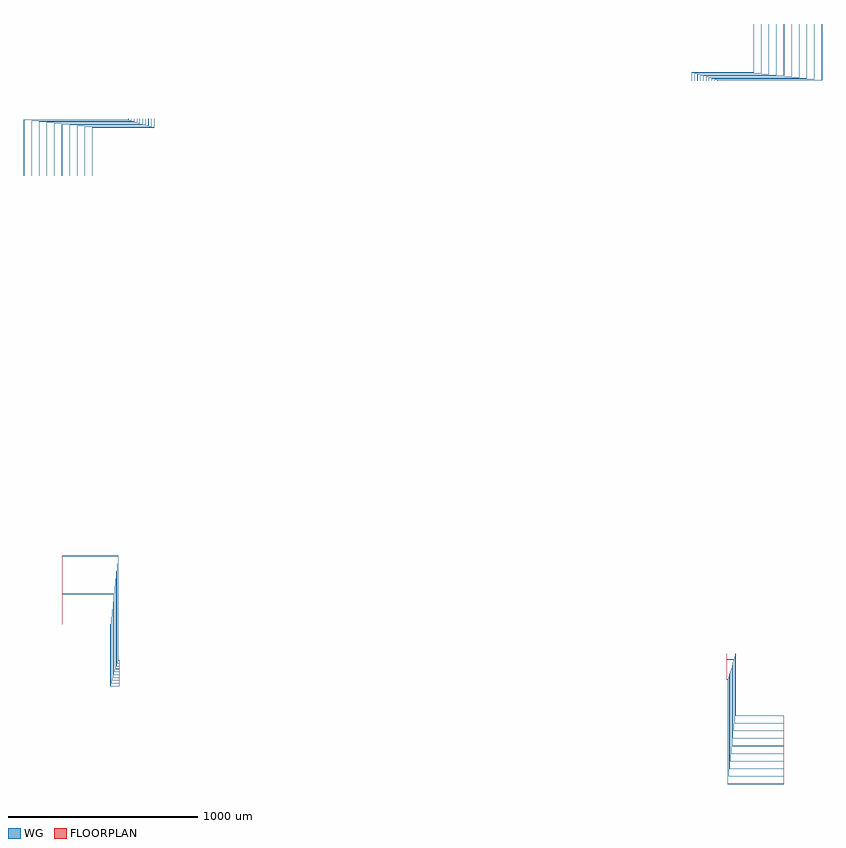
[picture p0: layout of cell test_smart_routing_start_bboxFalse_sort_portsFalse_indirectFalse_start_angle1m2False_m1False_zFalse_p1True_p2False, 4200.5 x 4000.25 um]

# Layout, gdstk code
import gdstk
lib = gdstk.Library(unit=1e-6, precision=1e-09)
def P(c, l, *ps):  # polygons
    for p in ps: c.add(gdstk.Polygon(p, *l))
WG = (1, 0)
FLOORPLAN = (10, 0)

test_smart_routing_start = lib.new_cell('test_smart_routing_start_bboxFalse_sort_portsFalse_indirectFalse_start_angle1m2False_m1False_zFalse_p1True_p2False')
P(test_smart_routing_start, WG, [(-104.5,49.75),(-104.5,599.75),(-400,599.75),(-400,599.95),(-104.3,599.95),(-104.3,49.95),(-100,49.95),(-100,49.75)],
  [(-104.2,50.05),(-104.2,600.05),(-400,600.05),(-400,600.25),(-104,600.25),(-104,50.25),(-100,50.25),(-100,50.05)],
  [(-109,34.75),(-109,559.75),(-400,559.75),(-400,559.95),(-108.8,559.95),(-108.8,34.95),(-100,34.95),(-100,34.75)],
  [(-108.7,35.05),(-108.7,560.05),(-400,560.05),(-400,560.25),(-108.5,560.25),(-108.5,35.25),(-100,35.25),(-100,35.05)],
  [(-113.5,19.75),(-113.5,519.75),(-400,519.75),(-400,519.95),(-113.3,519.95),(-113.3,19.95),(-100,19.95),(-100,19.75)],
  [(-113.2,20.05),(-113.2,520.05),(-400,520.05),(-400,520.25),(-113,520.25),(-113,20.25),(-100,20.25),(-100,20.05)],
  [(-118,4.75),(-118,479.75),(-400,479.75),(-400,479.95),(-117.8,479.95),(-117.8,4.95),(-100,4.95),(-100,4.75)],
  [(-117.7,5.05),(-117.7,480.05),(-400,480.05),(-400,480.25),(-117.5,480.25),(-117.5,5.25),(-100,5.25),(-100,5.05)],
  [(-122.5,-10.25),(-122.5,439.75),(-400,439.75),(-400,439.95),(-122.3,439.95),(-122.3,-10.05),(-100,-10.05),(-100,-10.25)],
  [(-122.2,-9.95),(-122.2,440.05),(-400,440.05),(-400,440.25),(-122,440.25),(-122,-9.75),(-100,-9.75),(-100,-9.95)],
  [(-127,-25.25),(-127,399.75),(-400,399.75),(-400,399.95),(-126.8,399.95),(-126.8,-25.05),(-100,-25.05),(-100,-25.25)],
  [(-126.7,-24.95),(-126.7,400.05),(-400,400.05),(-400,400.25),(-126.5,400.25),(-126.5,-24.75),(-100,-24.75),(-100,-24.95)],
  [(-131.5,-40.25),(-131.5,359.75),(-400,359.75),(-400,359.95),(-131.3,359.95),(-131.3,-40.05),(-100,-40.05),(-100,-40.25)],
  [(-131.2,-39.95),(-131.2,360.05),(-400,360.05),(-400,360.25),(-131,360.25),(-131,-39.75),(-100,-39.75),(-100,-39.95)],
  [(-136,-55.25),(-136,319.75),(-400,319.75),(-400,319.95),(-135.8,319.95),(-135.8,-55.05),(-100,-55.05),(-100,-55.25)],
  [(-135.7,-54.95),(-135.7,320.05),(-400,320.05),(-400,320.25),(-135.5,320.25),(-135.5,-54.75),(-100,-54.75),(-100,-54.95)],
  [(-140.5,-70.25),(-140.5,279.75),(-400,279.75),(-400,279.95),(-140.3,279.95),(-140.3,-70.05),(-100,-70.05),(-100,-70.25)],
  [(-140.2,-69.95),(-140.2,280.05),(-400,280.05),(-400,280.25),(-140,280.25),(-140,-69.75),(-100,-69.75),(-100,-69.95)],
  [(-145,-85.25),(-145,239.75),(-400,239.75),(-400,239.95),(-144.8,239.95),(-144.8,-85.05),(-100,-85.05),(-100,-85.25)],
  [(-144.7,-84.95),(-144.7,240.05),(-400,240.05),(-400,240.25),(-144.5,240.25),(-144.5,-84.75),(-100,-84.75),(-100,-84.95)],
  [(-600.25,2600),(-600.25,2896),(-50.25,2896),(-50.25,2900),(-50.05,2900),(-50.05,2895.8),(-600.05,2895.8),(-600.05,2600)],
  [(-599.95,2600),(-599.95,2895.7),(-49.95,2895.7),(-49.95,2900),(-49.75,2900),(-49.75,2895.5),(-599.75,2895.5),(-599.75,2600)],
  [(-560.25,2600),(-560.25,2891.5),(-35.25,2891.5),(-35.25,2900),(-35.05,2900),(-35.05,2891.3),(-560.05,2891.3),(-560.05,2600)],
  [(-559.95,2600),(-559.95,2891.2),(-34.95,2891.2),(-34.95,2900),(-34.75,2900),(-34.75,2891),(-559.75,2891),(-559.75,2600)],
  [(-520.25,2600),(-520.25,2887),(-20.25,2887),(-20.25,2900),(-20.05,2900),(-20.05,2886.8),(-520.05,2886.8),(-520.05,2600)],
  [(-519.95,2600),(-519.95,2886.7),(-19.95,2886.7),(-19.95,2900),(-19.75,2900),(-19.75,2886.5),(-519.75,2886.5),(-519.75,2600)],
  [(-480.25,2600),(-480.25,2882.5),(-5.25,2882.5),(-5.25,2900),(-5.05,2900),(-5.05,2882.3),(-480.05,2882.3),(-480.05,2600)],
  [(-479.95,2600),(-479.95,2882.2),(-4.95,2882.2),(-4.95,2900),(-4.75,2900),(-4.75,2882),(-479.75,2882),(-479.75,2600)],
  [(-440.25,2600),(-440.25,2878),(9.75,2878),(9.75,2900),(9.95,2900),(9.95,2877.8),(-440.05,2877.8),(-440.05,2600)],
  [(-439.95,2600),(-439.95,2877.7),(10.05,2877.7),(10.05,2900),(10.25,2900),(10.25,2877.5),(-439.75,2877.5),(-439.75,2600)],
  [(-400.25,2600),(-400.25,2873.5),(24.75,2873.5),(24.75,2900),(24.95,2900),(24.95,2873.3),(-400.05,2873.3),(-400.05,2600)],
  [(-399.95,2600),(-399.95,2873.2),(25.05,2873.2),(25.05,2900),(25.25,2900),(25.25,2873),(-399.75,2873),(-399.75,2600)],
  [(-360.25,2600),(-360.25,2869),(39.75,2869),(39.75,2900),(39.95,2900),(39.95,2868.8),(-360.05,2868.8),(-360.05,2600)],
  [(-359.95,2600),(-359.95,2868.7),(40.05,2868.7),(40.05,2900),(40.25,2900),(40.25,2868.5),(-359.75,2868.5),(-359.75,2600)],
  [(-320.25,2600),(-320.25,2864.5),(54.75,2864.5),(54.75,2900),(54.95,2900),(54.95,2864.3),(-320.05,2864.3),(-320.05,2600)],
  [(-319.95,2600),(-319.95,2864.2),(55.05,2864.2),(55.05,2900),(55.25,2900),(55.25,2864),(-319.75,2864),(-319.75,2600)],
  [(-280.25,2600),(-280.25,2860),(69.75,2860),(69.75,2900),(69.95,2900),(69.95,2859.8),(-280.05,2859.8),(-280.05,2600)],
  [(-279.95,2600),(-279.95,2859.7),(70.05,2859.7),(70.05,2900),(70.25,2900),(70.25,2859.5),(-279.75,2859.5),(-279.75,2600)],
  [(-240.25,2600),(-240.25,2855.5),(84.75,2855.5),(84.75,2900),(84.95,2900),(84.95,2855.3),(-240.05,2855.3),(-240.05,2600)],
  [(-239.95,2600),(-239.95,2855.2),(85.05,2855.2),(85.05,2900),(85.25,2900),(85.25,2855),(-239.75,2855),(-239.75,2600)],
  [(3104,-600.25),(3104,-50.25),(3100,-50.25),(3100,-50.05),(3104.2,-50.05),(3104.2,-600.05),(3400,-600.05),(3400,-600.25)],
  [(3104.3,-599.95),(3104.3,-49.95),(3100,-49.95),(3100,-49.75),(3104.5,-49.75),(3104.5,-599.75),(3400,-599.75),(3400,-599.95)],
  [(3108.5,-560.25),(3108.5,-35.25),(3100,-35.25),(3100,-35.05),(3108.7,-35.05),(3108.7,-560.05),(3400,-560.05),(3400,-560.25)],
  [(3108.8,-559.95),(3108.8,-34.95),(3100,-34.95),(3100,-34.75),(3109,-34.75),(3109,-559.75),(3400,-559.75),(3400,-559.95)],
  [(3113,-520.25),(3113,-20.25),(3100,-20.25),(3100,-20.05),(3113.2,-20.05),(3113.2,-520.05),(3400,-520.05),(3400,-520.25)],
  [(3113.3,-519.95),(3113.3,-19.95),(3100,-19.95),(3100,-19.75),(3113.5,-19.75),(3113.5,-519.75),(3400,-519.75),(3400,-519.95)],
  [(3117.5,-480.25),(3117.5,-5.25),(3100,-5.25),(3100,-5.05),(3117.7,-5.05),(3117.7,-480.05),(3400,-480.05),(3400,-480.25)],
  [(3117.8,-479.95),(3117.8,-4.95),(3100,-4.95),(3100,-4.75),(3118,-4.75),(3118,-479.75),(3400,-479.75),(3400,-479.95)],
  [(3122,-440.25),(3122,9.75),(3100,9.75),(3100,9.95),(3122.2,9.95),(3122.2,-440.05),(3400,-440.05),(3400,-440.25)],
  [(3122.3,-439.95),(3122.3,10.05),(3100,10.05),(3100,10.25),(3122.5,10.25),(3122.5,-439.75),(3400,-439.75),(3400,-439.95)],
  [(3126.5,-400.25),(3126.5,24.75),(3100,24.75),(3100,24.95),(3126.7,24.95),(3126.7,-400.05),(3400,-400.05),(3400,-400.25)],
  [(3126.8,-399.95),(3126.8,25.05),(3100,25.05),(3100,25.25),(3127,25.25),(3127,-399.75),(3400,-399.75),(3400,-399.95)],
  [(3131,-360.25),(3131,39.75),(3100,39.75),(3100,39.95),(3131.2,39.95),(3131.2,-360.05),(3400,-360.05),(3400,-360.25)],
  [(3131.3,-359.95),(3131.3,40.05),(3100,40.05),(3100,40.25),(3131.5,40.25),(3131.5,-359.75),(3400,-359.75),(3400,-359.95)],
  [(3135.5,-320.25),(3135.5,54.75),(3100,54.75),(3100,54.95),(3135.7,54.95),(3135.7,-320.05),(3400,-320.05),(3400,-320.25)],
  [(3135.8,-319.95),(3135.8,55.05),(3100,55.05),(3100,55.25),(3136,55.25),(3136,-319.75),(3400,-319.75),(3400,-319.95)],
  [(3140,-280.25),(3140,69.75),(3100,69.75),(3100,69.95),(3140.2,69.95),(3140.2,-280.05),(3400,-280.05),(3400,-280.25)],
  [(3140.3,-279.95),(3140.3,70.05),(3100,70.05),(3100,70.25),(3140.5,70.25),(3140.5,-279.75),(3400,-279.75),(3400,-279.95)],
  [(3144.5,-240.25),(3144.5,84.75),(3100,84.75),(3100,84.95),(3144.7,84.95),(3144.7,-240.05),(3400,-240.05),(3400,-240.25)],
  [(3144.8,-239.95),(3144.8,85.05),(3100,85.05),(3100,85.25),(3145,85.25),(3145,-239.75),(3400,-239.75),(3400,-239.95)],
  [(3049.75,3100),(3049.75,3104.5),(3599.75,3104.5),(3599.75,3400),(3599.95,3400),(3599.95,3104.3),(3049.95,3104.3),(3049.95,3100)],
  [(3050.05,3100),(3050.05,3104.2),(3600.05,3104.2),(3600.05,3400),(3600.25,3400),(3600.25,3104),(3050.25,3104),(3050.25,3100)],
  [(3034.75,3100),(3034.75,3109),(3559.75,3109),(3559.75,3400),(3559.95,3400),(3559.95,3108.8),(3034.95,3108.8),(3034.95,3100)],
  [(3035.05,3100),(3035.05,3108.7),(3560.05,3108.7),(3560.05,3400),(3560.25,3400),(3560.25,3108.5),(3035.25,3108.5),(3035.25,3100)],
  [(3019.75,3100),(3019.75,3113.5),(3519.75,3113.5),(3519.75,3400),(3519.95,3400),(3519.95,3113.3),(3019.95,3113.3),(3019.95,3100)],
  [(3020.05,3100),(3020.05,3113.2),(3520.05,3113.2),(3520.05,3400),(3520.25,3400),(3520.25,3113),(3020.25,3113),(3020.25,3100)],
  [(3004.75,3100),(3004.75,3118),(3479.75,3118),(3479.75,3400),(3479.95,3400),(3479.95,3117.8),(3004.95,3117.8),(3004.95,3100)],
  [(3005.05,3100),(3005.05,3117.7),(3480.05,3117.7),(3480.05,3400),(3480.25,3400),(3480.25,3117.5),(3005.25,3117.5),(3005.25,3100)],
  [(2989.75,3100),(2989.75,3122.5),(3439.75,3122.5),(3439.75,3400),(3439.95,3400),(3439.95,3122.3),(2989.95,3122.3),(2989.95,3100)],
  [(2990.05,3100),(2990.05,3122.2),(3440.05,3122.2),(3440.05,3400),(3440.25,3400),(3440.25,3122),(2990.25,3122),(2990.25,3100)],
  [(2974.75,3100),(2974.75,3127),(3399.75,3127),(3399.75,3400),(3399.95,3400),(3399.95,3126.8),(2974.95,3126.8),(2974.95,3100)],
  [(2975.05,3100),(2975.05,3126.7),(3400.05,3126.7),(3400.05,3400),(3400.25,3400),(3400.25,3126.5),(2975.25,3126.5),(2975.25,3100)],
  [(2959.75,3100),(2959.75,3131.5),(3359.75,3131.5),(3359.75,3400),(3359.95,3400),(3359.95,3131.3),(2959.95,3131.3),(2959.95,3100)],
  [(2960.05,3100),(2960.05,3131.2),(3360.05,3131.2),(3360.05,3400),(3360.25,3400),(3360.25,3131),(2960.25,3131),(2960.25,3100)],
  [(2944.75,3100),(2944.75,3136),(3319.75,3136),(3319.75,3400),(3319.95,3400),(3319.95,3135.8),(2944.95,3135.8),(2944.95,3100)],
  [(2945.05,3100),(2945.05,3135.7),(3320.05,3135.7),(3320.05,3400),(3320.25,3400),(3320.25,3135.5),(2945.25,3135.5),(2945.25,3100)],
  [(2929.75,3100),(2929.75,3140.5),(3279.75,3140.5),(3279.75,3400),(3279.95,3400),(3279.95,3140.3),(2929.95,3140.3),(2929.95,3100)],
  [(2930.05,3100),(2930.05,3140.2),(3280.05,3140.2),(3280.05,3400),(3280.25,3400),(3280.25,3140),(2930.25,3140),(2930.25,3100)],
  [(2914.75,3100),(2914.75,3145),(3239.75,3145),(3239.75,3400),(3239.95,3400),(3239.95,3144.8),(2914.95,3144.8),(2914.95,3100)],
  [(2915.05,3100),(2915.05,3144.7),(3240.05,3144.7),(3240.05,3400),(3240.25,3400),(3240.25,3144.5),(2915.25,3144.5),(2915.25,3100)])
P(test_smart_routing_start, FLOORPLAN, [(-100,-85),(-100,50),(-100,50),(-100,-85)],
  [(-50,2900),(-50,2900),(85,2900),(85,2900)],
  [(3100,-50),(3100,85),(3100,85),(3100,-50)],
  [(2915,3100),(2915,3100),(3050,3100),(3050,3100)],
  [(-400,240),(-400,600),(-400,600),(-400,240)],
  [(-600,2600),(-600,2600),(-240,2600),(-240,2600)],
  [(3400,-600),(3400,-240),(3400,-240),(3400,-600)],
  [(3240,3400),(3240,3400),(3600,3400),(3600,3400)])

lib.write_gds('test_smart_routing_start_bboxFalse_sort_portsFalse_indirectFalse_start_angle1m2False_m1False_zFalse_p1True_p2False.gds')
